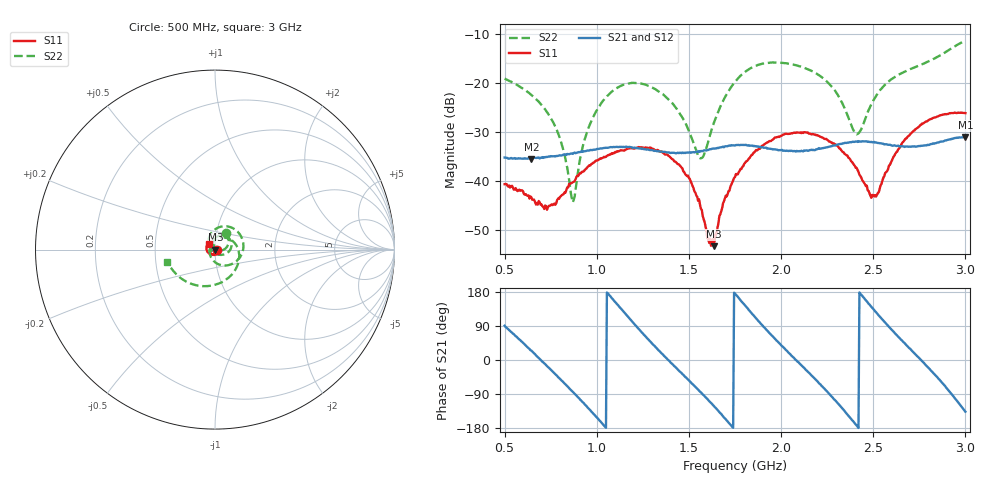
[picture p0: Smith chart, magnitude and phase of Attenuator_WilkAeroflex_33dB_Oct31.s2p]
!Agilent Technologies,N5242A,MY48420904,Z.10.24.74
!Agilent N5242A: Z.10.24.74
!Date: Friday, October 31, 2014 08:08:30
!Correction: S22(Full 2 Port(2,4))
!S42(Full 2 Port(2,4))
!S24(Full 2 Port(2,4))
!S44(Full 2 Port(2,4))
!S2P File: Measurements: S22, S42, S24, S44:
# Hz S  dB  R 50
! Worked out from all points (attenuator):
!   501 points, 500 MHz to 3 GHz, reference 50 ohm
!   highest |S21| = -31.00 dB at 3 GHz (marker M1); lowest = -35.4 dB at 645 MHz (marker M2)
!   lowest |S11| = -53.3 dB at 1.635 GHz (marker M3), VSWR 1.00, Z = 50.2 - j0.125 ohm
!   |S11| at or under -10 dB: start of sweep to end of sweep
!   |S22| runs from -44.3 to -11.3 dB; largest |S21 - S12| = 0.00059
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5e8  -40.59 -9.9  -35.16 90.5  -35.19 89.5  -19.05 56.3
6.45e8  -43.23 -72.8  -35.45 25.0  -35.25 24.0  -22.37 18.9
7.85e8  -43.81 177.5  -34.84 -42.0  -34.72 -42.1  -29.71 -9.0
8.7e8  -40.21 123.2  -34.41 -83.9  -34.36 -84.2  -44.32 45.9
9.2e8  -38.06 99.6  -33.80 -109.7  -34.02 -109.3  -33.68 107.4
9.85e8  -36.17 72.8  -33.57 -143.5  -33.52 -143.7  -26.55 99.2
1.09e9  -34.23 35.4  -32.99 158.8  -33.01 158.4  -21.45 70.3
1.335e9  -33.70 -42.2  -33.87 25.7  -33.98 26.4  -21.65 -2.8
1.455e9  -36.97 -79.9  -34.18 -32.2  -34.27 -32.3  -26.47 -38.0
1.56e9  -44.79 -102.3  -33.96 -83.5  -33.93 -82.9  -35.28 -120.7
1.61e9  -52.59 -81.2  -33.52 -108.6  -33.64 -108.7  -31.29 166.5
1.635e9  -53.25 -35.0  -33.32 -121.0  -33.40 -121.4  -28.09 148.1
1.75e9  -39.14 -15.2  -32.69 175.1  -32.66 175.3  -19.72 96.3
1.97e9  -31.04 -81.0  -33.49 54.4  -33.57 54.8  -15.77 23.6
2.17e9  -30.37 -150.2  -33.64 -43.0  -33.61 -43.0  -17.53 -31.8
2.295e9  -32.51 165.2  -32.68 -107.0  -32.63 -107.2  -21.61 -77.9
2.41e9  -37.27 115.7  -31.89 -172.9  -31.94 -173.1  -30.43 173.2
2.495e9  -42.78 34.5  -32.04 137.3  -32.03 137.4  -23.93 75.4
2.585e9  -36.82 -64.1  -32.56 87.4  -32.53 88.1  -19.57 30.8
2.765e9  -28.23 -144.2  -32.76 -3.1  -32.80 -2.8  -16.14 -40.2
2.905e9  -26.28 167.1  -31.52 -77.9  -31.59 -78.1  -13.33 -109.2
3e9  -26.09 136.8  -31.00 -136.4  -31.04 -136.6  -11.25 -165.4
